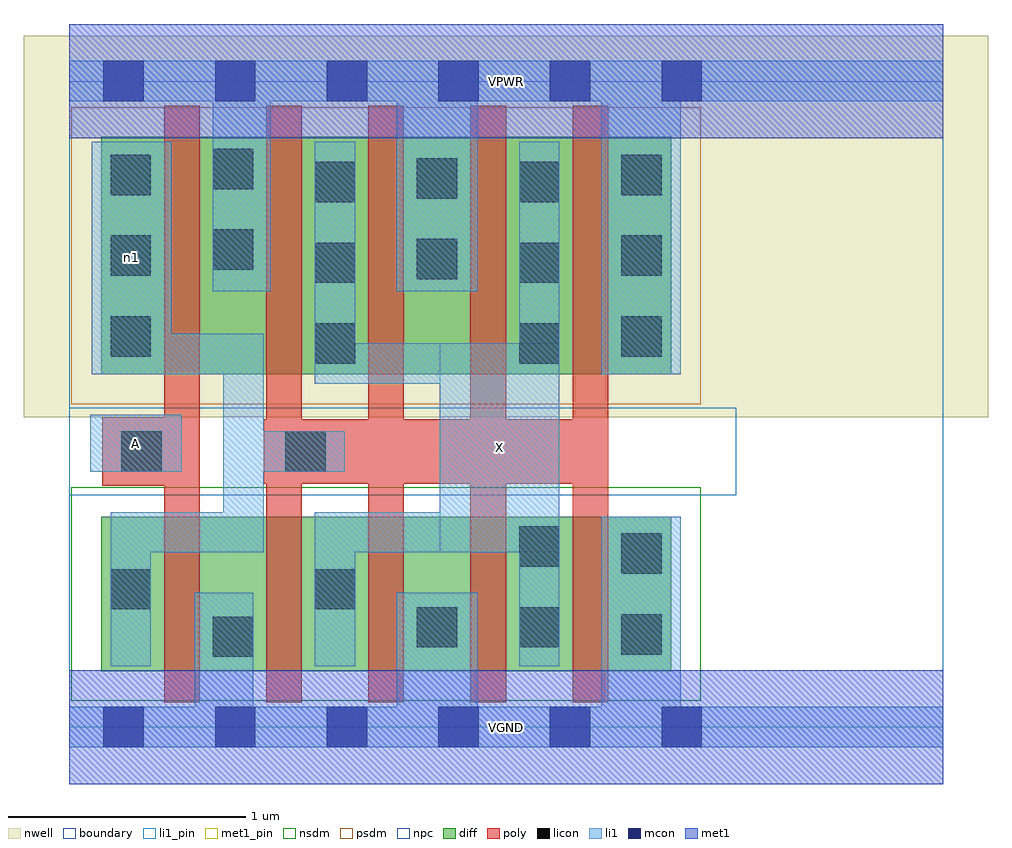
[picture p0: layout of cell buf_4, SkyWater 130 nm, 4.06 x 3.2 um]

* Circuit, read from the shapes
.subckt buf_4 A VGND VPWR X n1
XM1 VGND A n1 VSUBS sky130_fd_pr__nfet_01v8 w=0.65 l=0.15
XM2 X n1 VGND VSUBS sky130_fd_pr__nfet_01v8 w=0.65 l=0.15 m=4
XM3 VPWR A n1 n2 sky130_fd_pr__pfet_01v8 w=1 l=0.15
XM4 X n1 VPWR n2 sky130_fd_pr__pfet_01v8 w=1 l=0.15 m=4
.ends

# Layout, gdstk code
import gdstk
lib = gdstk.Library(unit=1e-6, precision=1e-09)
def R(c, l, rs):  # rectangles x0, y0, x1, y1
    for r in rs: c.add(gdstk.rectangle(r[:2], r[2:], *l))
def A(c, l, x, y, w, h, nx, ny, dx, dy):  # array of equal rectangles
    R(c, l, [(x+i*dx, y+j*dy, x+i*dx+w, y+j*dy+h) for i in range(nx) for j in range(ny)])
nwell = (64, 20)
diff = (65, 20)
poly = (66, 20)
licon = (66, 44)
li1_pin = (67, 16)
li1 = (67, 20)
mcon = (67, 44)
met1_pin = (68, 16)
met1 = (68, 20)
nsdm = (93, 44)
psdm = (94, 20)
npc = (95, 20)
boundary = (235, 4)

buf_4 = lib.new_cell('buf_4')
R(buf_4, nwell, [(-0.19,1.305,3.87,2.91), (0,1.305,3.68,2.91)])
R(buf_4, diff, [(0.135,0.235,2.535,0.885), (0.135,1.485,2.535,2.485)])
A(buf_4, poly, 0.4, 0.105, 0.15, 2.51, 5, 1, 0.43, 0)
R(buf_4, poly, [(0.14,1.015,0.55,1.305), (0.82,1.025,2.27,1.295)])
A(buf_4, licon, 1.035, 1.53, 0.17, 0.17, 1, 3, 0, 0.34)
A(buf_4, licon, 1.895, 1.53, 0.17, 0.17, 1, 3, 0, 0.34)
A(buf_4, licon, 0.175, 1.56, 0.17, 0.17, 1, 3, 0, 0.34)
A(buf_4, licon, 2.325, 1.56, 0.17, 0.17, 1, 3, 0, 0.34)
R(buf_4, licon, [(0.605,0.295,0.775,0.465), (2.325,0.305,2.495,0.475), (1.465,0.335,1.635,0.505), (1.895,0.335,2.065,0.505), (0.175,0.495,0.345,0.665), (1.035,0.495,1.205,0.665), (2.325,0.645,2.495,0.815), (1.895,0.675,2.065,0.845), (0.22,1.075,0.39,1.245), (0.91,1.075,1.08,1.245), (1.465,1.885,1.635,2.055), (0.605,1.925,0.775,2.095), (1.465,2.225,1.635,2.395), (0.605,2.265,0.775,2.435)])
R(buf_4, li1_pin, [(1.56,0.735,2.065,1.615), (0.09,1.075,0.475,1.315)])
R(buf_4, li1, [(0,-0.085,3.68,0.085), (0.53,-0.085,0.775,0.565), (1.38,-0.085,1.72,0.565), (2.24,-0.085,2.575,0.885), (0.175,0.255,0.345,0.905), (1.035,0.255,1.205,0.905), (1.895,0.255,2.065,2.465), (0.175,0.735,0.82,0.905), (0.65,0.735,0.82,1.655), (1.035,0.735,2.065,0.905), (1.56,0.735,2.065,1.615), (0.09,1.075,0.475,1.315), (0.65,1.075,1.16,1.245), (1.035,1.445,2.065,1.615), (1.035,1.445,1.205,2.465), (0.095,1.485,0.43,2.465), (0.095,1.485,0.82,1.655), (2.24,1.485,2.575,2.805), (0.605,1.835,0.85,2.805), (1.38,1.835,1.72,2.805), (0,2.635,3.68,2.805)])
A(buf_4, mcon, 0.145, -0.085, 0.17, 0.17, 6, 2, 0.47, 2.72)
R(buf_4, met1_pin, [(0,-0.24,3.68,0.24), (0,2.48,3.68,2.96)])
R(buf_4, met1, [(0,-0.24,3.68,0.24), (0,2.48,3.68,2.96)])
R(buf_4, nsdm, [(0.01,0.11,2.66,1.01)])
R(buf_4, psdm, [(0.01,1.36,2.66,2.61)])
R(buf_4, npc, [(0,0.975,2.81,1.345)])
R(buf_4, boundary, [(0,0,3.68,2.72)])
buf_4.add(gdstk.Label('A', (0.282,1.195), layer=67, texttype=5))
buf_4.add(gdstk.Label('X', (1.812,1.175), layer=67, texttype=5))
buf_4.add(gdstk.Label('n1', (0.262,1.975), layer=67, texttype=5))
buf_4.add(gdstk.Label('VPWR', (1.84,2.72), layer=68, texttype=5))
buf_4.add(gdstk.Label('VGND', (1.84,0), layer=68, texttype=5))
buf_4.add(gdstk.Label('A', (0.282,1.195), layer=67, texttype=16))
buf_4.add(gdstk.Label('X', (1.812,1.175), layer=67, texttype=16))
buf_4.add(gdstk.Label('VPWR', (1.84,2.72), layer=68, texttype=16))
buf_4.add(gdstk.Label('VGND', (1.84,0), layer=68, texttype=16))

lib.write_gds('buf_4.gds')
